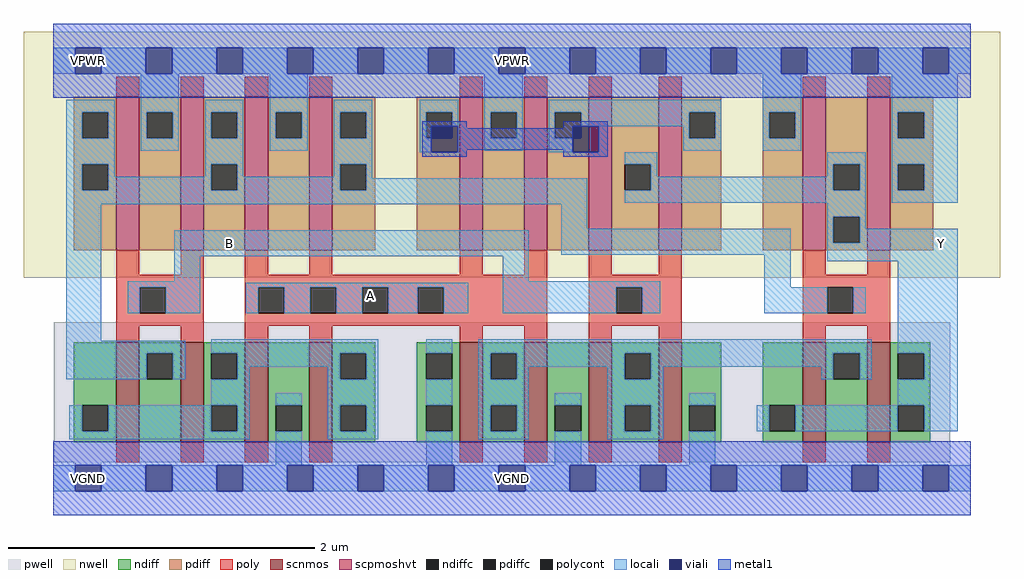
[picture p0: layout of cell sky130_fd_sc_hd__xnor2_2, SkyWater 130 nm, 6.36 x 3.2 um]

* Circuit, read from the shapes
.subckt sky130_fd_sc_hd__xnor2_2 A B VGND VNB VPB VPWR Y
XM1 n1 B n2 VNB sky130_fd_pr__nfet_01v8 w=0.65 l=0.15 m=2
XM2 VGND A n2 VNB sky130_fd_pr__nfet_01v8 w=0.65 l=0.15 m=2
XM3 n3 A VGND VNB sky130_fd_pr__nfet_01v8 w=0.65 l=0.15 m=2
XM4 n3 B VGND VNB sky130_fd_pr__nfet_01v8 w=0.65 l=0.15 m=2
XM5 n3 n1 Y VNB sky130_fd_pr__nfet_01v8 w=0.65 l=0.15 m=2
XM6 VPWR B n1 VPB sky130_fd_pr__pfet_01v8_hvt w=1 l=0.15 m=2
XM7 VPWR A n1 VPB sky130_fd_pr__pfet_01v8_hvt w=1 l=0.15 m=2
XM8 VPWR A n4 VPB sky130_fd_pr__pfet_01v8_hvt w=1 l=0.15 m=2
XM9 Y B n4 VPB sky130_fd_pr__pfet_01v8_hvt w=1 l=0.15 m=2
XM10 Y n1 VPWR VPB sky130_fd_pr__pfet_01v8_hvt w=1 l=0.15 m=2
.ends

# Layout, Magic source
magic
tech sky130B
magscale 1 2
<< nwell >>
rect -38 261 1234 582
<< pwell >>
rect 1 21 1169 203
rect 29 -17 63 21
<< scnmos >>
rect 82 47 112 177
rect 166 47 196 177
rect 250 47 280 177
rect 334 47 364 177
rect 530 47 560 177
rect 614 47 644 177
rect 698 47 728 177
rect 789 47 819 177
rect 977 47 1007 177
rect 1061 47 1091 177
<< scpmoshvt >>
rect 82 297 112 497
rect 166 297 196 497
rect 250 297 280 497
rect 334 297 364 497
rect 530 297 560 497
rect 614 297 644 497
rect 698 297 728 497
rect 789 297 819 497
rect 977 297 1007 497
rect 1061 297 1091 497
<< ndiff >>
rect 27 95 82 177
rect 27 61 38 95
rect 72 61 82 95
rect 27 47 82 61
rect 112 163 166 177
rect 112 129 122 163
rect 156 129 166 163
rect 112 47 166 129
rect 196 163 250 177
rect 196 129 206 163
rect 240 129 250 163
rect 196 95 250 129
rect 196 61 206 95
rect 240 61 250 95
rect 196 47 250 61
rect 280 95 334 177
rect 280 61 290 95
rect 324 61 334 95
rect 280 47 334 61
rect 364 163 420 177
rect 364 129 374 163
rect 408 129 420 163
rect 364 95 420 129
rect 364 61 374 95
rect 408 61 420 95
rect 364 47 420 61
rect 474 163 530 177
rect 474 129 486 163
rect 520 129 530 163
rect 474 95 530 129
rect 474 61 486 95
rect 520 61 530 95
rect 474 47 530 61
rect 560 163 614 177
rect 560 129 570 163
rect 604 129 614 163
rect 560 95 614 129
rect 560 61 570 95
rect 604 61 614 95
rect 560 47 614 61
rect 644 95 698 177
rect 644 61 654 95
rect 688 61 698 95
rect 644 47 698 61
rect 728 163 789 177
rect 728 129 745 163
rect 779 129 789 163
rect 728 95 789 129
rect 728 61 745 95
rect 779 61 789 95
rect 728 47 789 61
rect 819 95 871 177
rect 819 61 829 95
rect 863 61 871 95
rect 819 47 871 61
rect 925 95 977 177
rect 925 61 933 95
rect 967 61 977 95
rect 925 47 977 61
rect 1007 163 1061 177
rect 1007 129 1017 163
rect 1051 129 1061 163
rect 1007 47 1061 129
rect 1091 163 1143 177
rect 1091 129 1101 163
rect 1135 129 1143 163
rect 1091 95 1143 129
rect 1091 61 1101 95
rect 1135 61 1143 95
rect 1091 47 1143 61
<< pdiff >>
rect 27 477 82 497
rect 27 443 38 477
rect 72 443 82 477
rect 27 409 82 443
rect 27 375 38 409
rect 72 375 82 409
rect 27 297 82 375
rect 112 477 166 497
rect 112 443 122 477
rect 156 443 166 477
rect 112 297 166 443
rect 196 477 250 497
rect 196 443 206 477
rect 240 443 250 477
rect 196 409 250 443
rect 196 375 206 409
rect 240 375 250 409
rect 196 297 250 375
rect 280 477 334 497
rect 280 443 290 477
rect 324 443 334 477
rect 280 297 334 443
rect 364 477 420 497
rect 364 443 374 477
rect 408 443 420 477
rect 364 409 420 443
rect 364 375 374 409
rect 408 375 420 409
rect 364 297 420 375
rect 474 477 530 497
rect 474 443 486 477
rect 520 443 530 477
rect 474 297 530 443
rect 560 477 614 497
rect 560 443 570 477
rect 604 443 614 477
rect 560 297 614 443
rect 644 477 698 497
rect 644 443 654 477
rect 688 443 698 477
rect 644 297 698 443
rect 728 409 789 497
rect 728 375 745 409
rect 779 375 789 409
rect 728 297 789 375
rect 819 477 871 497
rect 819 443 829 477
rect 863 443 871 477
rect 819 297 871 443
rect 925 477 977 497
rect 925 443 933 477
rect 967 443 977 477
rect 925 297 977 443
rect 1007 409 1061 497
rect 1007 375 1017 409
rect 1051 375 1061 409
rect 1007 341 1061 375
rect 1007 307 1017 341
rect 1051 307 1061 341
rect 1007 297 1061 307
rect 1091 477 1147 497
rect 1091 443 1101 477
rect 1135 443 1147 477
rect 1091 409 1147 443
rect 1091 375 1101 409
rect 1135 375 1147 409
rect 1091 297 1147 375
<< ndiffc >>
rect 38 61 72 95
rect 122 129 156 163
rect 206 129 240 163
rect 206 61 240 95
rect 290 61 324 95
rect 374 129 408 163
rect 374 61 408 95
rect 486 129 520 163
rect 486 61 520 95
rect 570 129 604 163
rect 570 61 604 95
rect 654 61 688 95
rect 745 129 779 163
rect 745 61 779 95
rect 829 61 863 95
rect 933 61 967 95
rect 1017 129 1051 163
rect 1101 129 1135 163
rect 1101 61 1135 95
<< pdiffc >>
rect 38 443 72 477
rect 38 375 72 409
rect 122 443 156 477
rect 206 443 240 477
rect 206 375 240 409
rect 290 443 324 477
rect 374 443 408 477
rect 374 375 408 409
rect 486 443 520 477
rect 570 443 604 477
rect 654 443 688 477
rect 745 375 779 409
rect 829 443 863 477
rect 933 443 967 477
rect 1017 375 1051 409
rect 1017 307 1051 341
rect 1101 443 1135 477
rect 1101 375 1135 409
<< poly >>
rect 82 497 112 523
rect 166 497 196 523
rect 250 497 280 523
rect 334 497 364 523
rect 530 497 560 523
rect 614 497 644 523
rect 698 497 728 523
rect 789 497 819 523
rect 977 497 1007 523
rect 1061 497 1091 523
rect 82 265 112 297
rect 166 265 196 297
rect 82 249 196 265
rect 82 215 113 249
rect 147 215 196 249
rect 82 199 196 215
rect 82 177 112 199
rect 166 177 196 199
rect 250 265 280 297
rect 334 265 364 297
rect 530 265 560 297
rect 614 265 644 297
rect 250 249 644 265
rect 250 215 267 249
rect 301 215 335 249
rect 369 215 403 249
rect 437 215 475 249
rect 509 215 644 249
rect 250 199 644 215
rect 250 177 280 199
rect 334 177 364 199
rect 530 177 560 199
rect 614 177 644 199
rect 698 265 728 297
rect 789 265 819 297
rect 698 249 819 265
rect 698 215 734 249
rect 768 215 819 249
rect 698 199 819 215
rect 698 177 728 199
rect 789 177 819 199
rect 977 265 1007 297
rect 1061 265 1091 297
rect 977 249 1091 265
rect 977 215 1009 249
rect 1043 215 1091 249
rect 977 199 1091 215
rect 977 177 1007 199
rect 1061 177 1091 199
rect 82 21 112 47
rect 166 21 196 47
rect 250 21 280 47
rect 334 21 364 47
rect 530 21 560 47
rect 614 21 644 47
rect 698 21 728 47
rect 789 21 819 47
rect 977 21 1007 47
rect 1061 21 1091 47
<< polycont >>
rect 113 215 147 249
rect 267 215 301 249
rect 335 215 369 249
rect 403 215 437 249
rect 475 215 509 249
rect 734 215 768 249
rect 1009 215 1043 249
<< locali >>
rect 0 527 29 561
rect 63 527 121 561
rect 155 527 213 561
rect 247 527 305 561
rect 339 527 397 561
rect 431 527 489 561
rect 523 527 581 561
rect 615 527 673 561
rect 707 527 765 561
rect 799 527 857 561
rect 891 527 949 561
rect 983 527 1041 561
rect 1075 527 1133 561
rect 1167 527 1196 561
rect 17 477 80 493
rect 17 443 38 477
rect 72 443 80 477
rect 17 409 80 443
rect 114 477 164 527
rect 114 443 122 477
rect 156 443 164 477
rect 114 427 164 443
rect 198 477 248 493
rect 198 443 206 477
rect 240 443 248 477
rect 17 375 38 409
rect 72 393 80 409
rect 198 409 248 443
rect 282 477 332 527
rect 282 443 290 477
rect 324 443 332 477
rect 282 427 332 443
rect 366 477 416 493
rect 366 443 374 477
rect 408 443 416 477
rect 198 393 206 409
rect 72 375 206 393
rect 240 393 248 409
rect 366 409 416 443
rect 478 477 528 493
rect 478 443 486 477
rect 520 459 528 477
rect 478 425 493 443
rect 527 425 528 459
rect 562 477 612 527
rect 562 443 570 477
rect 604 443 612 477
rect 562 427 612 443
rect 646 477 871 493
rect 646 443 654 477
rect 688 459 829 477
rect 646 425 677 443
rect 821 443 829 459
rect 863 443 871 477
rect 821 427 871 443
rect 925 477 975 527
rect 925 443 933 477
rect 967 443 975 477
rect 925 427 975 443
rect 1093 477 1179 527
rect 1093 443 1101 477
rect 1135 443 1179 477
rect 366 393 374 409
rect 240 375 374 393
rect 408 391 416 409
rect 745 409 787 425
rect 408 375 696 391
rect 17 357 696 375
rect 779 393 787 409
rect 1009 409 1059 425
rect 1009 393 1017 409
rect 779 375 1017 393
rect 1051 375 1059 409
rect 745 359 1059 375
rect 1093 409 1179 443
rect 1093 375 1101 409
rect 1135 375 1179 409
rect 1093 359 1179 375
rect 17 179 63 357
rect 662 325 696 357
rect 1009 341 1059 359
rect 158 289 620 323
rect 662 291 961 325
rect 158 257 192 289
rect 97 249 192 257
rect 586 257 620 289
rect 97 215 113 249
rect 147 215 192 249
rect 251 249 541 255
rect 251 215 267 249
rect 301 215 335 249
rect 369 215 403 249
rect 437 215 475 249
rect 509 215 541 249
rect 586 249 791 257
rect 586 215 734 249
rect 768 215 791 249
rect 927 249 961 291
rect 1009 307 1017 341
rect 1051 325 1059 341
rect 1051 307 1179 325
rect 1009 283 1179 307
rect 927 215 1009 249
rect 1043 215 1059 249
rect 17 163 172 179
rect 17 129 122 163
rect 156 129 172 163
rect 206 163 424 181
rect 240 145 374 163
rect 240 129 256 145
rect 206 95 256 129
rect 358 129 374 145
rect 408 129 424 163
rect 21 61 38 95
rect 72 61 206 95
rect 240 61 256 95
rect 21 51 256 61
rect 290 95 324 111
rect 290 17 324 61
rect 358 95 424 129
rect 358 61 374 95
rect 408 61 424 95
rect 358 51 424 61
rect 486 163 520 181
rect 486 95 520 129
rect 486 17 520 61
rect 554 163 1067 181
rect 554 129 570 163
rect 604 145 745 163
rect 604 129 620 145
rect 554 95 620 129
rect 722 129 745 145
rect 779 145 1017 163
rect 779 129 795 145
rect 1001 129 1017 145
rect 1051 129 1067 163
rect 1101 163 1179 283
rect 1135 129 1179 163
rect 554 61 570 95
rect 604 61 620 95
rect 554 51 620 61
rect 654 95 688 111
rect 654 17 688 61
rect 722 95 795 129
rect 722 61 745 95
rect 779 61 795 95
rect 722 51 795 61
rect 829 95 863 111
rect 1101 95 1179 129
rect 917 61 933 95
rect 967 61 1101 95
rect 1135 61 1179 95
rect 829 17 863 61
rect 0 -17 29 17
rect 63 -17 121 17
rect 155 -17 213 17
rect 247 -17 305 17
rect 339 -17 397 17
rect 431 -17 489 17
rect 523 -17 581 17
rect 615 -17 673 17
rect 707 -17 765 17
rect 799 -17 857 17
rect 891 -17 949 17
rect 983 -17 1041 17
rect 1075 -17 1133 17
rect 1167 -17 1196 17
<< viali >>
rect 29 527 63 561
rect 121 527 155 561
rect 213 527 247 561
rect 305 527 339 561
rect 397 527 431 561
rect 489 527 523 561
rect 581 527 615 561
rect 673 527 707 561
rect 765 527 799 561
rect 857 527 891 561
rect 949 527 983 561
rect 1041 527 1075 561
rect 1133 527 1167 561
rect 493 443 520 459
rect 520 443 527 459
rect 493 425 527 443
rect 677 443 688 459
rect 688 443 711 459
rect 677 425 711 443
rect 29 -17 63 17
rect 121 -17 155 17
rect 213 -17 247 17
rect 305 -17 339 17
rect 397 -17 431 17
rect 489 -17 523 17
rect 581 -17 615 17
rect 673 -17 707 17
rect 765 -17 799 17
rect 857 -17 891 17
rect 949 -17 983 17
rect 1041 -17 1075 17
rect 1133 -17 1167 17
<< metal1 >>
rect 0 561 1196 592
rect 0 527 29 561
rect 63 527 121 561
rect 155 527 213 561
rect 247 527 305 561
rect 339 527 397 561
rect 431 527 489 561
rect 523 527 581 561
rect 615 527 673 561
rect 707 527 765 561
rect 799 527 857 561
rect 891 527 949 561
rect 983 527 1041 561
rect 1075 527 1133 561
rect 1167 527 1196 561
rect 0 496 1196 527
rect 481 459 539 465
rect 481 425 493 459
rect 527 456 539 459
rect 665 459 723 465
rect 665 456 677 459
rect 527 428 677 456
rect 527 425 539 428
rect 481 419 539 425
rect 665 425 677 428
rect 711 425 723 459
rect 665 419 723 425
rect 0 17 1196 48
rect 0 -17 29 17
rect 63 -17 121 17
rect 155 -17 213 17
rect 247 -17 305 17
rect 339 -17 397 17
rect 431 -17 489 17
rect 523 -17 581 17
rect 615 -17 673 17
rect 707 -17 765 17
rect 799 -17 857 17
rect 891 -17 949 17
rect 983 -17 1041 17
rect 1075 -17 1133 17
rect 1167 -17 1196 17
rect 0 -48 1196 -17
<< labels >>
flabel metal1 s 29 -17 63 17 0 FreeSans 200 0 0 0 VGND
port 3 nsew ground bidirectional abutment
flabel metal1 s 29 527 63 561 0 FreeSans 200 0 0 0 VPWR
port 6 nsew power bidirectional abutment
flabel locali s 1141 289 1175 323 0 FreeSans 400 0 0 0 Y
port 7 nsew signal output
flabel locali s 397 221 431 255 0 FreeSans 400 0 0 0 A
port 1 nsew signal input
flabel locali s 213 289 247 323 0 FreeSans 400 0 0 0 B
port 2 nsew signal input
flabel nwell s 29 527 63 561 0 FreeSans 200 0 0 0 VPB
port 5 nsew power bidirectional
flabel pwell s 29 -17 63 17 0 FreeSans 200 0 0 0 VNB
port 4 nsew ground bidirectional
rlabel comment s 0 0 0 0 4 xnor2_2
rlabel metal1 s 0 -48 1196 48 1 VGND
port 3 nsew ground bidirectional abutment
rlabel metal1 s 0 496 1196 592 1 VPWR
port 6 nsew power bidirectional abutment
<< properties >>
string FIXED_BBOX 0 0 1196 544
string GDS_END 626992
string GDS_FILE $PDKPATH/libs.ref/sky130_fd_sc_hd/gds/sky130_fd_sc_hd.gds
string GDS_START 618312
string LEFclass CORE
string LEFsite unithd
string LEFsymmetry X Y R90
string path 0.000 2.720 5.980 2.720 
<< end >>
